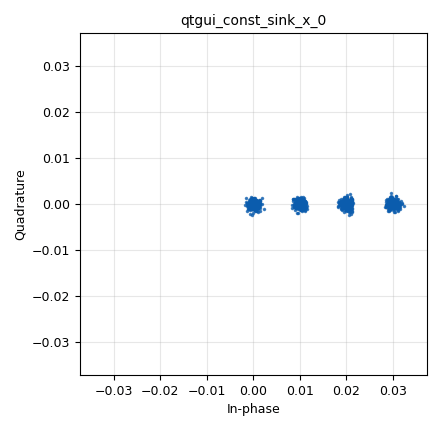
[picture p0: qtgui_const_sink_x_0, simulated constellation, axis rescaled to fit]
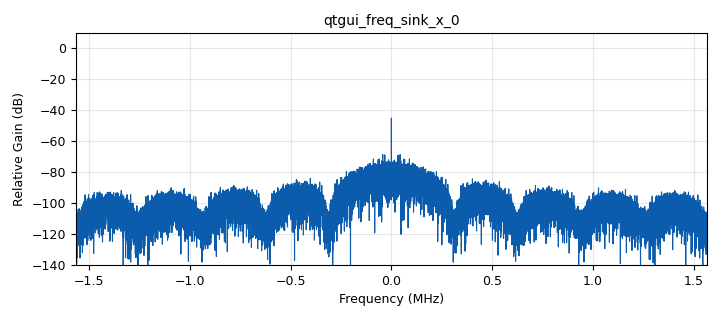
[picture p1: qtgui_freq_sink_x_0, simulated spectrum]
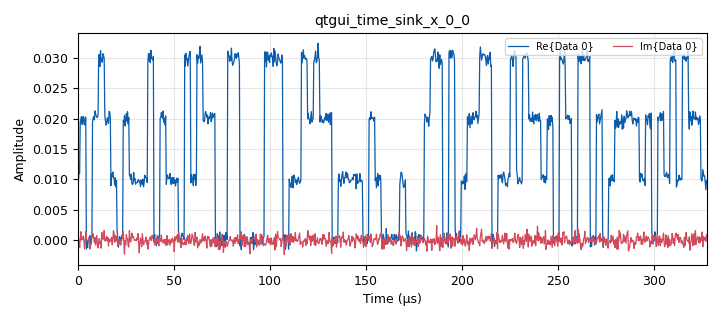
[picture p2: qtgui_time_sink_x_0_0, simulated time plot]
options:
  parameters:
    author: 'William_Moncada_Nicolas_Murillo '
    copyright: UIS
    generate_options: qt_gui
    id: ModulacionMaria
    output_language: python
    title: Lab2
  states: {}

blocks:
- name: Ac
  id: variable_qtgui_range
  parameters:
    label: Amplitud de la portadora
    start: '0'
    step: '0.1'
    stop: '2'
    value: '0.1'
  states: {}
- name: B
  id: variable_qtgui_range
  parameters:
    label: '#Muestras por simbolo '
    rangeType: int
    start: '1'
    step: '1'
    stop: '20'
    value: '10'
  states: {}
- name: DC
  id: variable_qtgui_range
  parameters:
    label: Nivel de continua DC
    start: '-8'
    step: '0.01'
    stop: '8'
    value: '0'
  states: {}
- name: GTX
  id: variable_qtgui_range
  parameters:
    label: ganancia del TX
    start: '0'
    step: '1'
    stop: '30'
    value: '0'
  states: {}
- name: 'No'
  id: variable_qtgui_range
  parameters:
    label: 'Amplitud Ruido '
    start: '0'
    step: '0.0001'
    stop: '0.03'
    value: '0.001'
  states: {}
- name: fc
  id: variable_qtgui_range
  parameters:
    label: frecuencia de portadora
    start: 50e6
    step: 1e6
    stop: 2200e6
    value: 50e6
  states: {}
- name: ka
  id: variable_qtgui_range
  parameters:
    label: ka coeficiente de sensibilidad
    start: '0'
    step: '0.1'
    stop: '2'
    value: '0.1'
  states: {}
- name: n
  id: variable_qtgui_range
  parameters:
    label: '# Numero de bit por muestra'
    rangeType: int
    start: '1'
    step: '1'
    stop: '4'
    value: '2'
  states: {}
- name: samp_rate
  id: variable
  parameters:
    value: 12.5e6/4
  states: {}
- name: analog_noise_source_x_1
  id: analog_noise_source_x
  parameters:
    amp: 'No'
    noise_type: analog.GR_GAUSSIAN
    seed: '0'
    type: complex
  states: {}
- name: analog_random_source_x_0
  id: analog_random_source_x
  parameters:
    max: 2**n
    min: '0'
    num_samps: '1000'
    repeat: 'True'
    type: byte
  states: {}
- name: blocks_add_const_vxx_0
  id: blocks_add_const_vxx
  parameters:
    const: DC
    type: float
  states: {}
- name: blocks_add_xx_0
  id: blocks_add_xx
  parameters:
    type: complex
  states: {}
- name: blocks_float_to_complex_0
  id: blocks_float_to_complex
  parameters: {}
  states: {}
- name: blocks_multiply_const_vxx_0
  id: blocks_multiply_const_vxx
  parameters:
    const: ka
    type: float
  states: {}
- name: blocks_multiply_const_vxx_1
  id: blocks_multiply_const_vxx
  parameters:
    const: Ac
    type: complex
  states: {}
- name: blocks_null_source_0
  id: blocks_null_source
  parameters:
    type: float
  states: {}
- name: blocks_repeat_0
  id: blocks_repeat
  parameters:
    interp: B
    type: float
  states: {}
- name: blocks_uchar_to_float_0
  id: blocks_uchar_to_float
  parameters: {}
  states: {}
- name: qtgui_const_sink_x_0
  id: qtgui_const_sink_x
  parameters:
    size: '1024'
    type: complex
  states: {}
- name: qtgui_freq_sink_x_0
  id: qtgui_freq_sink_x
  parameters:
    bw: samp_rate
    fc: '0'
    fftsize: '32768'
    type: complex
  states: {}
- name: qtgui_time_sink_x_0_0
  id: qtgui_time_sink_x
  parameters:
    autoscale: 'True'
    size: '1024'
    srate: samp_rate
    type: complex
  states: {}
- name: uhd_usrp_sink_0
  id: uhd_usrp_sink
  parameters:
    ant0: '"TX/RX"'
    center_freq0: fc
    gain0: GTX
    samp_rate: samp_rate
    sync: pc_clock
    type: fc32
  states: {}
- name: virtual_sink_0
  id: virtual_sink
  parameters:
    stream_id: m_t
  states: {}
- name: virtual_sink_1
  id: virtual_sink
  parameters:
    stream_id: g(t)
  states: {}
- name: virtual_source_0
  id: virtual_source
  parameters:
    stream_id: g(t)
  states: {}
- name: virtual_source_1
  id: virtual_source
  parameters:
    stream_id: m_t
  states: {}

connections:
- [analog_noise_source_x_1, '0', blocks_add_xx_0, '1']
- [analog_random_source_x_0, '0', blocks_uchar_to_float_0, '0']
- [blocks_add_const_vxx_0, '0', blocks_float_to_complex_0, '0']
- [blocks_add_xx_0, '0', qtgui_const_sink_x_0, '0']
- [blocks_add_xx_0, '0', qtgui_freq_sink_x_0, '0']
- [blocks_add_xx_0, '0', qtgui_time_sink_x_0_0, '0']
- [blocks_add_xx_0, '0', uhd_usrp_sink_0, '0']
- [blocks_float_to_complex_0, '0', blocks_multiply_const_vxx_1, '0']
- [blocks_multiply_const_vxx_0, '0', blocks_add_const_vxx_0, '0']
- [blocks_multiply_const_vxx_1, '0', virtual_sink_1, '0']
- [blocks_null_source_0, '0', blocks_float_to_complex_0, '1']
- [blocks_repeat_0, '0', virtual_sink_0, '0']
- [blocks_uchar_to_float_0, '0', blocks_repeat_0, '0']
- [virtual_source_0, '0', blocks_add_xx_0, '0']
- [virtual_source_1, '0', blocks_multiply_const_vxx_0, '0']

metadata:
  file_format: 1
  grc_version: 3.9.8.0
